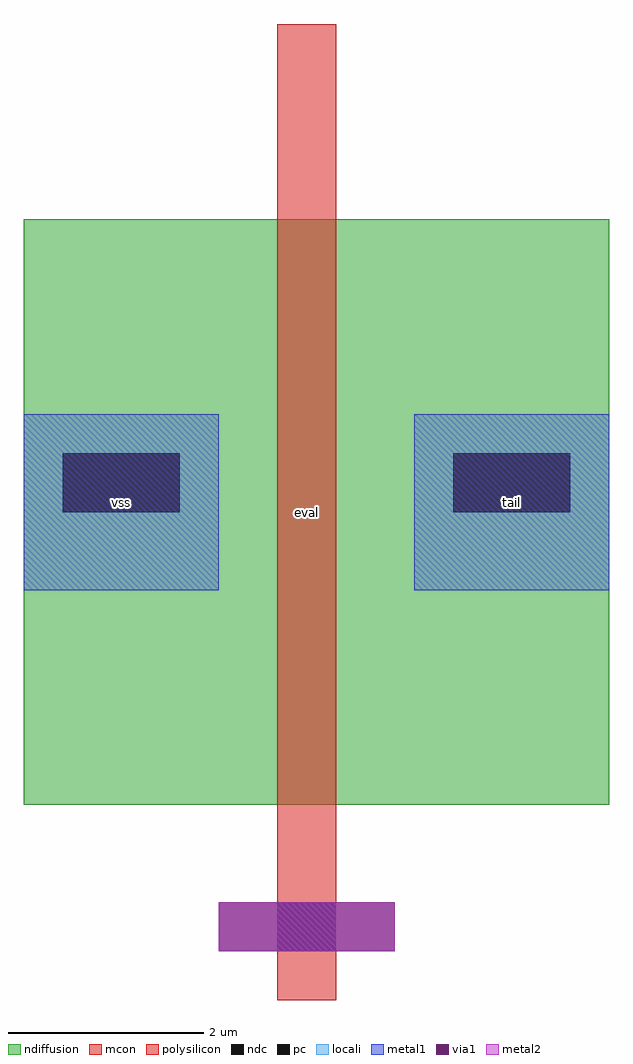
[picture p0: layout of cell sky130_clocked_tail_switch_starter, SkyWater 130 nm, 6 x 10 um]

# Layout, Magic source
magic
tech sky130A
<< ndiffusion >>
rect 300 400 900 1000
<< polysilicon >>
rect 560 200 620 1200
<< ndc >>
rect 340 700 460 760
rect 740 700 860 760
<< pc >>
rect 560 250 620 300
<< locali >>
rect 560 250 620 300
<< mcon >>
rect 340 700 460 760
rect 740 700 860 760
rect 560 250 620 300
<< metal1 >>
rect 300 620 500 800
rect 700 620 900 800
rect 560 250 620 300
<< metal2 >>
rect 500 250 680 300
<< via1 >>
rect 500 250 680 300
<< labels >>
rlabel metal1 300 620 500 800 0 vss
port 1 nsew
rlabel metal1 700 620 900 800 0 tail
port 2 nsew
rlabel polysilicon 560 200 620 1200 0 eval
port 3 nsew
<< end >>
